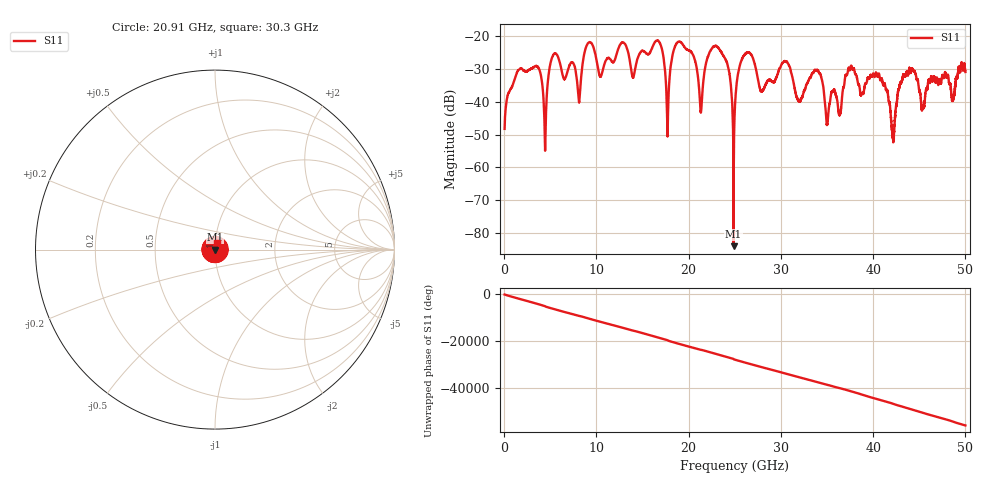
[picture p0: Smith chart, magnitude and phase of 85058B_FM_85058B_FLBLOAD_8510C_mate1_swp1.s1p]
!Created with skrf (http://scikit-rf.org).
# Hz S RI R 50.0
!freq ReS11 ImS11
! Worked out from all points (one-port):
!   10001 points, 45 MHz to 50 GHz, reference 50 ohm
!   lowest |S11| = -83.9 dB at 24.87 GHz (marker M1), VSWR 1.00, Z = 50 - j0.00522 ohm
!   |S11| at or under -10 dB: start of sweep to end of sweep
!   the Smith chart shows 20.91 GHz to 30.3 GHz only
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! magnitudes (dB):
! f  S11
! 45 MHz  -48.3
! 1.639 GHz  -30.2
! 3.682 GHz  -29.6
! 4.421 GHz  -53.5
! 5.255 GHz  -26.2
! 6.289 GHz  -31.4
! 8.108 GHz  -40.1
! 9.112 GHz  -22.2
! 12.53 GHz  -22.8
! 13.99 GHz  -32.7
! 16.73 GHz  -21.6
! 17.72 GHz  -50.5
! 18.78 GHz  -22.0
! 21.32 GHz  -43.3
! 23.36 GHz  -24.2
! 24.87 GHz  -83.9
! 25.02 GHz  -41.2
! 26.26 GHz  -25.2
! 27.9 GHz  -36.8
! 31.27 GHz  -32.9
! 34.08 GHz  -30.9
! 35.04 GHz  -46.5
! 37.51 GHz  -30.1
! 40.77 GHz  -33.5
! 42.14 GHz  -51.1
! 43.76 GHz  -32.1
! 45.38 GHz  -41.4
! 50 GHz  -31.0
